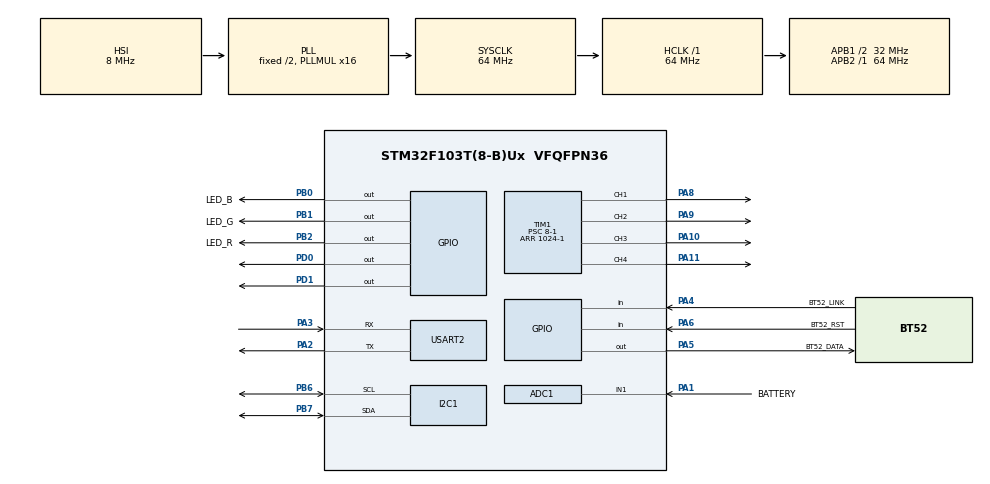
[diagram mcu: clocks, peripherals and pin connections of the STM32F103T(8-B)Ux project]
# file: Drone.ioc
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ADC1.Channel-1\#ChannelRegularConversion=ADC_CHANNEL_1
ADC1.NbrOfConversionFlag=1
ADC1.Rank-1\#ChannelRegularConversion=1
ADC1.SamplingTime-1\#ChannelRegularConversion=ADC_SAMPLETIME_1CYCLE_5
ADC1.master=1
Dma.Request0=USART2_TX
Dma.Request1=USART2_RX
Dma.USART2_RX.1.Direction=DMA_PERIPH_TO_MEMORY
Dma.USART2_RX.1.Instance=DMA1_Channel6
Dma.USART2_RX.1.MemDataAlignment=DMA_MDATAALIGN_BYTE
Dma.USART2_RX.1.MemInc=DMA_MINC_ENABLE
Dma.USART2_RX.1.Mode=DMA_NORMAL
Dma.USART2_RX.1.PeriphDataAlignment=DMA_PDATAALIGN_BYTE
Dma.USART2_RX.1.PeriphInc=DMA_PINC_DISABLE
Dma.USART2_RX.1.Priority=DMA_PRIORITY_LOW
Dma.USART2_TX.0.Direction=DMA_MEMORY_TO_PERIPH
Dma.USART2_TX.0.Instance=DMA1_Channel7
Dma.USART2_TX.0.MemDataAlignment=DMA_MDATAALIGN_BYTE
Dma.USART2_TX.0.MemInc=DMA_MINC_ENABLE
Dma.USART2_TX.0.Mode=DMA_NORMAL
Dma.USART2_TX.0.PeriphDataAlignment=DMA_PDATAALIGN_BYTE
Dma.USART2_TX.0.PeriphInc=DMA_PINC_DISABLE
Dma.USART2_TX.0.Priority=DMA_PRIORITY_LOW
Mcu.Family=STM32F1
Mcu.Name=STM32F103T(8-B)Ux
Mcu.Package=VFQFPN36
NVIC.DMA1_Channel6_IRQn=true\:0\:0\:false\:false\:true\:false\:true\:true
NVIC.DMA1_Channel7_IRQn=true\:0\:0\:false\:false\:true\:false\:true\:true
NVIC.I2C1_ER_IRQn=true\:1\:0\:true\:false\:true\:true\:true\:true
NVIC.I2C1_EV_IRQn=true\:1\:0\:true\:false\:true\:true\:true\:true
NVIC.PriorityGroup=NVIC_PRIORITYGROUP_4
NVIC.TIM2_IRQn=true\:0\:0\:false\:false\:true\:true\:true\:true
NVIC.USART2_IRQn=true\:2\:0\:true\:false\:true\:true\:true\:true
PA1.GPIO_Label=BATTERY
PA1.Signal=ADCx_IN1
PA10.Signal=S_TIM1_CH3
PA11.Signal=S_TIM1_CH4
PA2.Mode=Asynchronous
PA2.Signal=USART2_TX
PA3.Mode=Asynchronous
PA3.Signal=USART2_RX
PA4.GPIO_Label=BT52_LINK
PA4.Signal=GPIO_Input
PA5.GPIO_Label=BT52_DATA
PA5.Signal=GPIO_Output
PA6.GPIO_Label=BT52_RST
PA6.Signal=GPIO_Input
PA8.Signal=S_TIM1_CH1
PA9.Signal=S_TIM1_CH2
PB0.GPIO_Label=LED_B
PB0.Signal=GPIO_Output
PB1.GPIO_Label=LED_G
PB1.Signal=GPIO_Output
PB2.GPIO_Label=LED_R
PB2.Signal=GPIO_Output
PB6.Mode=I2C
PB6.Signal=I2C1_SCL
PB7.Mode=I2C
PB7.Signal=I2C1_SDA
PD0-OSC_IN.Signal=GPIO_Output
PD1-OSC_OUT.Signal=GPIO_Output
ProjectManager.HeapSize=0x200
ProjectManager.StackSize=0x400
ProjectManager.TargetToolchain=STM32CubeIDE
RCC.ADCPresc=RCC_ADCPCLK2_DIV6
RCC.AHBFreq_Value=64000000
RCC.APB1CLKDivider=RCC_HCLK_DIV2
RCC.APB1Freq_Value=32000000
RCC.APB1TimFreq_Value=64000000
RCC.APB2Freq_Value=64000000
RCC.APB2TimFreq_Value=64000000
RCC.HCLKFreq_Value=64000000
RCC.PLLMUL=RCC_PLL_MUL16
RCC.SYSCLKFreq_VALUE=64000000
RCC.SYSCLKSource=RCC_SYSCLKSOURCE_PLLCLK
RCC.USBFreq_Value=64000000
SH.ADCx_IN1.0=ADC1_IN1,IN1
SH.S_TIM1_CH1.0=TIM1_CH1,PWM Generation1 CH1
SH.S_TIM1_CH2.0=TIM1_CH2,PWM Generation2 CH2
SH.S_TIM1_CH3.0=TIM1_CH3,PWM Generation3 CH3
SH.S_TIM1_CH4.0=TIM1_CH4,PWM Generation4 CH4
TIM1.Channel-PWM\ Generation1\ CH1=TIM_CHANNEL_1
TIM1.Channel-PWM\ Generation2\ CH2=TIM_CHANNEL_2
TIM1.Channel-PWM\ Generation3\ CH3=TIM_CHANNEL_3
TIM1.Channel-PWM\ Generation4\ CH4=TIM_CHANNEL_4
TIM1.Period=1024-1
TIM1.Prescaler=8-1
USART2.VirtualMode=VM_ASYNC
VP_SYS_VS_ND.Mode=No_Debug
VP_TIM2_VS_ClockSourceINT.Mode=Internal
board=custom

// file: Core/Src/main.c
/* USER CODE BEGIN Header */
/**
  ******************************************************************************
  * @file           : main.c
  * @brief          : Main program body
  ******************************************************************************
  * @attention
  *
  * Copyright (c) 2025 STMicroelectronics.
  * All rights reserved.
  *
  * This software is licensed under terms that can be found in the LICENSE file
  * in the root directory of this software component.
  * If no LICENSE file comes with this software, it is provided AS-IS.
  *
  ******************************************************************************
  */
/* USER CODE END Header */
#include "main.h"
#include "adc.h"
#include "dma.h"
#include "i2c.h"
#include "tim.h"
#include "usart.h"
#include "gpio.h"

/* USER CODE BEGIN Includes */

#include "drone_utils.h"
#include "constant.h"
#include "led.h"
#include "qmi8658.h"
#include "e104bt52.h"
#include "motor.h"

/* USER CODE END Includes */

/* USER CODE BEGIN PV */

volatile int isBleLinked = 0;
volatile int deviceError = 0;
volatile int loopFlag = 0;
volatile int transmitImuData = 0;

Acceleration acceleration = {0};
AngularVelocity angularVelocity = {0};

Angle currAngle = {0};
Angle targetAngle = {0};

PidGain pidGain = {0};
PidState pidState = {0};

MotorSpeed motorBaseSpeed = {0};
MotorSpeed motorSpeed = {0};

/* USER CODE END PV */

void SystemClock_Config(void);

/* USER CODE BEGIN 0 */

void HAL_TIM_PeriodElapsedCallback(TIM_HandleTypeDef *htim)
{
    if (htim->Instance == TIM2)
    {
        loopFlag = 1;
        ++transmitImuData;
    }
}

/* USER CODE END 0 */

int main(void)
{

  /* MCU Configuration--------------------------------------------------------*/

  /* Reset of all peripherals, Initializes the Flash interface and the Systick. */
  HAL_Init();

  /* Configure the system clock */
  SystemClock_Config();

  /* Initialize all configured peripherals */
  MX_GPIO_Init();
  MX_DMA_Init();
  MX_ADC1_Init();
  MX_I2C1_Init();
  MX_TIM1_Init();
  MX_USART2_UART_Init();
  MX_TIM2_Init();
  /* USER CODE BEGIN 2 */

  // Enable SWD
  __HAL_AFIO_REMAP_SWJ_ENABLE();

  // init
  QMI8658_Init();
  E104BT52_Init();
  MOTOR_Init();
  HAL_TIM_Base_Start_IT(&htim2);

  QMI8658_StartReadImuData();

  /* USER CODE END 2 */

  /* Infinite loop */
  /* USER CODE BEGIN WHILE */
  while (1){

	  if(loopFlag)
	  {
		  loopFlag = 0;

		  // Get BLE State
		  isBleLinked = HAL_GPIO_ReadPin(BT52_LINK_GPIO_Port, BT52_LINK_Pin);
		  LED_SetColor(isBleLinked, deviceError);

		  inertiaData2Angle_balanceFilter(acceleration, angularVelocity, &currAngle);

		  if(enablePid(motorBaseSpeed))
		  {
			  singlePidController(angularVelocity, currAngle, targetAngle, pidGain, &pidState, motorBaseSpeed, &motorSpeed);

			  limitMotorSpeed(&motorSpeed);
			  MOTOR_SetSpeed(motorSpeed);
		  }
		  else
		  {
			  MOTOR_SetSpeed(motorBaseSpeed);
		  }

//		  if(IsDeviceError(currAngle, targetAngle, pidGain, pidState)) deviceError = 1;
	  }
	  if(isBleLinked && transmitImuData>20)
	  {
		  transmitImuData = 0;
		  E104BT52_TransmitInertiaData(acceleration, angularVelocity, currAngle);
	  }
    /* USER CODE END WHILE */

  }
}

void SystemClock_Config(void)
{
  RCC_OscInitTypeDef RCC_OscInitStruct = {0};
  RCC_ClkInitTypeDef RCC_ClkInitStruct = {0};
  RCC_PeriphCLKInitTypeDef PeriphClkInit = {0};

  /** Initializes the RCC Oscillators according to the specified parameters
  * in the RCC_OscInitTypeDef structure.
  */
  RCC_OscInitStruct.OscillatorType = RCC_OSCILLATORTYPE_HSI;
  RCC_OscInitStruct.HSIState = RCC_HSI_ON;
  RCC_OscInitStruct.HSICalibrationValue = RCC_HSICALIBRATION_DEFAULT;
  RCC_OscInitStruct.PLL.PLLState = RCC_PLL_ON;
  RCC_OscInitStruct.PLL.PLLSource = RCC_PLLSOURCE_HSI_DIV2;
  RCC_OscInitStruct.PLL.PLLMUL = RCC_PLL_MUL16;
  if (HAL_RCC_OscConfig(&RCC_OscInitStruct) != HAL_OK)
  {
    Error_Handler();
  }

  /** Initializes the CPU, AHB and APB buses clocks
  */
  RCC_ClkInitStruct.ClockType = RCC_CLOCKTYPE_HCLK|RCC_CLOCKTYPE_SYSCLK
                              |RCC_CLOCKTYPE_PCLK1|RCC_CLOCKTYPE_PCLK2;
  RCC_ClkInitStruct.SYSCLKSource = RCC_SYSCLKSOURCE_PLLCLK;
  RCC_ClkInitStruct.AHBCLKDivider = RCC_SYSCLK_DIV1;
  RCC_ClkInitStruct.APB1CLKDivider = RCC_HCLK_DIV2;
  RCC_ClkInitStruct.APB2CLKDivider = RCC_HCLK_DIV1;

  if (HAL_RCC_ClockConfig(&RCC_ClkInitStruct, FLASH_LATENCY_2) != HAL_OK)
  {
    Error_Handler();
  }
  PeriphClkInit.PeriphClockSelection = RCC_PERIPHCLK_ADC;
  PeriphClkInit.AdcClockSelection = RCC_ADCPCLK2_DIV6;
  if (HAL_RCCEx_PeriphCLKConfig(&PeriphClkInit) != HAL_OK)
  {
    Error_Handler();
  }
}

void Error_Handler(void)
{
  __disable_irq();
  while (1)
  {
  }
}
